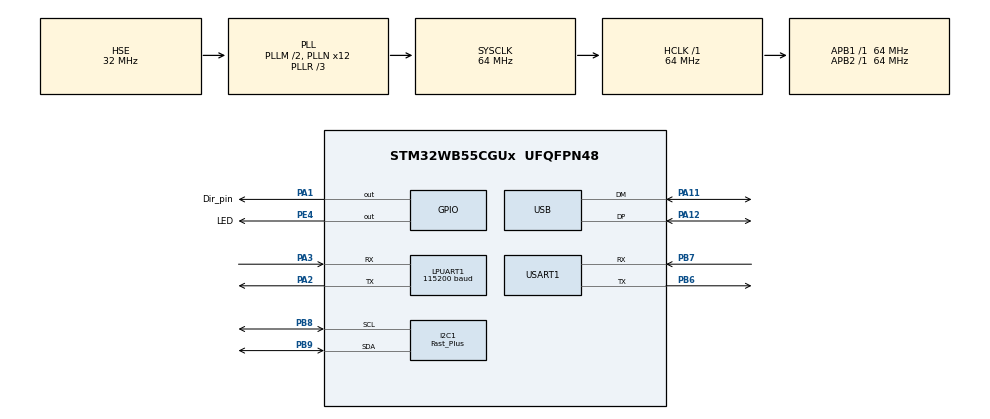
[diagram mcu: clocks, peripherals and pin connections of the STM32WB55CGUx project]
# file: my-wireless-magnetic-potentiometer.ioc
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Dma.I2C1_RX.0.Direction=DMA_PERIPH_TO_MEMORY
Dma.I2C1_RX.0.EventEnable=DISABLE
Dma.I2C1_RX.0.Instance=DMA1_Channel1
Dma.I2C1_RX.0.MemDataAlignment=DMA_MDATAALIGN_BYTE
Dma.I2C1_RX.0.MemInc=DMA_MINC_ENABLE
Dma.I2C1_RX.0.Mode=DMA_NORMAL
Dma.I2C1_RX.0.PeriphDataAlignment=DMA_PDATAALIGN_BYTE
Dma.I2C1_RX.0.PeriphInc=DMA_PINC_DISABLE
Dma.I2C1_RX.0.Polarity=HAL_DMAMUX_REQ_GEN_RISING
Dma.I2C1_RX.0.Priority=DMA_PRIORITY_LOW
Dma.I2C1_RX.0.RequestNumber=1
Dma.I2C1_RX.0.SignalID=NONE
Dma.I2C1_RX.0.SyncEnable=DISABLE
Dma.I2C1_RX.0.SyncPolarity=HAL_DMAMUX_SYNC_NO_EVENT
Dma.I2C1_RX.0.SyncRequestNumber=1
Dma.I2C1_RX.0.SyncSignalID=NONE
Dma.I2C1_TX.1.Direction=DMA_MEMORY_TO_PERIPH
Dma.I2C1_TX.1.EventEnable=DISABLE
Dma.I2C1_TX.1.Instance=DMA1_Channel2
Dma.I2C1_TX.1.MemDataAlignment=DMA_MDATAALIGN_BYTE
Dma.I2C1_TX.1.MemInc=DMA_MINC_ENABLE
Dma.I2C1_TX.1.Mode=DMA_NORMAL
Dma.I2C1_TX.1.PeriphDataAlignment=DMA_PDATAALIGN_BYTE
Dma.I2C1_TX.1.PeriphInc=DMA_PINC_DISABLE
Dma.I2C1_TX.1.Polarity=HAL_DMAMUX_REQ_GEN_RISING
Dma.I2C1_TX.1.Priority=DMA_PRIORITY_LOW
Dma.I2C1_TX.1.RequestNumber=1
Dma.I2C1_TX.1.SignalID=NONE
Dma.I2C1_TX.1.SyncEnable=DISABLE
Dma.I2C1_TX.1.SyncPolarity=HAL_DMAMUX_SYNC_NO_EVENT
Dma.I2C1_TX.1.SyncRequestNumber=1
Dma.I2C1_TX.1.SyncSignalID=NONE
Dma.LPUART1_RX.3.Direction=DMA_PERIPH_TO_MEMORY
Dma.LPUART1_RX.3.EventEnable=DISABLE
Dma.LPUART1_RX.3.Instance=DMA1_Channel4
Dma.LPUART1_RX.3.MemDataAlignment=DMA_MDATAALIGN_BYTE
Dma.LPUART1_RX.3.MemInc=DMA_MINC_ENABLE
Dma.LPUART1_RX.3.Mode=DMA_NORMAL
Dma.LPUART1_RX.3.PeriphDataAlignment=DMA_PDATAALIGN_BYTE
Dma.LPUART1_RX.3.PeriphInc=DMA_PINC_DISABLE
Dma.LPUART1_RX.3.Polarity=HAL_DMAMUX_REQ_GEN_RISING
Dma.LPUART1_RX.3.Priority=DMA_PRIORITY_LOW
Dma.LPUART1_RX.3.RequestNumber=1
Dma.LPUART1_RX.3.SignalID=NONE
Dma.LPUART1_RX.3.SyncEnable=DISABLE
Dma.LPUART1_RX.3.SyncPolarity=HAL_DMAMUX_SYNC_NO_EVENT
Dma.LPUART1_RX.3.SyncRequestNumber=1
Dma.LPUART1_RX.3.SyncSignalID=NONE
Dma.LPUART1_TX.2.Direction=DMA_MEMORY_TO_PERIPH
Dma.LPUART1_TX.2.EventEnable=DISABLE
Dma.LPUART1_TX.2.Instance=DMA1_Channel3
Dma.LPUART1_TX.2.MemDataAlignment=DMA_MDATAALIGN_BYTE
Dma.LPUART1_TX.2.MemInc=DMA_MINC_ENABLE
Dma.LPUART1_TX.2.Mode=DMA_NORMAL
Dma.LPUART1_TX.2.PeriphDataAlignment=DMA_PDATAALIGN_BYTE
Dma.LPUART1_TX.2.PeriphInc=DMA_PINC_DISABLE
Dma.LPUART1_TX.2.Polarity=HAL_DMAMUX_REQ_GEN_RISING
Dma.LPUART1_TX.2.Priority=DMA_PRIORITY_LOW
Dma.LPUART1_TX.2.RequestNumber=1
Dma.LPUART1_TX.2.SignalID=NONE
Dma.LPUART1_TX.2.SyncEnable=DISABLE
Dma.LPUART1_TX.2.SyncPolarity=HAL_DMAMUX_SYNC_NO_EVENT
Dma.LPUART1_TX.2.SyncRequestNumber=1
Dma.LPUART1_TX.2.SyncSignalID=NONE
Dma.Request0=I2C1_RX
Dma.Request1=I2C1_TX
Dma.Request2=LPUART1_TX
Dma.Request3=LPUART1_RX
Dma.Request4=USART1_RX
Dma.Request5=USART1_TX
Dma.USART1_RX.4.Direction=DMA_PERIPH_TO_MEMORY
Dma.USART1_RX.4.EventEnable=DISABLE
Dma.USART1_RX.4.Instance=DMA1_Channel5
Dma.USART1_RX.4.MemDataAlignment=DMA_MDATAALIGN_BYTE
Dma.USART1_RX.4.MemInc=DMA_MINC_ENABLE
Dma.USART1_RX.4.Mode=DMA_NORMAL
Dma.USART1_RX.4.PeriphDataAlignment=DMA_PDATAALIGN_BYTE
Dma.USART1_RX.4.PeriphInc=DMA_PINC_DISABLE
Dma.USART1_RX.4.Polarity=HAL_DMAMUX_REQ_GEN_RISING
Dma.USART1_RX.4.Priority=DMA_PRIORITY_LOW
Dma.USART1_RX.4.RequestNumber=1
Dma.USART1_RX.4.SignalID=NONE
Dma.USART1_RX.4.SyncEnable=DISABLE
Dma.USART1_RX.4.SyncPolarity=HAL_DMAMUX_SYNC_NO_EVENT
Dma.USART1_RX.4.SyncRequestNumber=1
Dma.USART1_RX.4.SyncSignalID=NONE
Dma.USART1_TX.5.Direction=DMA_MEMORY_TO_PERIPH
Dma.USART1_TX.5.EventEnable=DISABLE
Dma.USART1_TX.5.Instance=DMA1_Channel6
Dma.USART1_TX.5.MemDataAlignment=DMA_MDATAALIGN_BYTE
Dma.USART1_TX.5.MemInc=DMA_MINC_ENABLE
Dma.USART1_TX.5.Mode=DMA_NORMAL
Dma.USART1_TX.5.PeriphDataAlignment=DMA_PDATAALIGN_BYTE
Dma.USART1_TX.5.PeriphInc=DMA_PINC_DISABLE
Dma.USART1_TX.5.Polarity=HAL_DMAMUX_REQ_GEN_RISING
Dma.USART1_TX.5.Priority=DMA_PRIORITY_LOW
Dma.USART1_TX.5.RequestNumber=1
Dma.USART1_TX.5.SignalID=NONE
Dma.USART1_TX.5.SyncEnable=DISABLE
Dma.USART1_TX.5.SyncPolarity=HAL_DMAMUX_SYNC_NO_EVENT
Dma.USART1_TX.5.SyncRequestNumber=1
Dma.USART1_TX.5.SyncSignalID=NONE
I2C1.I2C_Coeff_DF=4
I2C1.I2C_Speed_Mode=I2C_Fast_Plus
I2C1.OwnAddress=0x36
I2C1.Timing=0x00900718
LPUART1.BaudRate=115200
Mcu.Family=STM32WB
Mcu.Name=STM32WB55CGUx
Mcu.Package=UFQFPN48
NVIC.DMA1_Channel1_IRQn=true\:0\:0\:false\:false\:true\:false\:true\:true
NVIC.DMA1_Channel2_IRQn=true\:0\:0\:false\:false\:true\:false\:true\:true
NVIC.DMA1_Channel3_IRQn=true\:0\:0\:false\:false\:true\:false\:true\:true
NVIC.DMA1_Channel4_IRQn=true\:0\:0\:false\:false\:true\:false\:true\:true
NVIC.DMA1_Channel5_IRQn=true\:0\:0\:false\:false\:true\:false\:true\:true
NVIC.DMA1_Channel6_IRQn=true\:0\:0\:false\:false\:true\:false\:true\:true
NVIC.HSEM_IRQn=true\:2\:0\:true\:false\:true\:false\:true\:true
NVIC.I2C1_ER_IRQn=true\:2\:0\:true\:false\:true\:true\:true\:true
NVIC.I2C1_EV_IRQn=true\:2\:0\:true\:false\:true\:true\:true\:true
NVIC.IPCC_C1_RX_IRQn=true\:2\:0\:true\:false\:true\:true\:true\:true
NVIC.IPCC_C1_TX_IRQn=true\:2\:0\:true\:false\:true\:true\:true\:true
NVIC.LPUART1_IRQn=true\:0\:0\:false\:false\:true\:true\:true\:true
NVIC.PriorityGroup=NVIC_PRIORITYGROUP_4
NVIC.RTC_WKUP_IRQn=true\:0\:0\:false\:false\:true\:true\:true\:true
NVIC.TIM1_UP_TIM16_IRQn=true\:0\:0\:false\:false\:true\:true\:true\:true
NVIC.USART1_IRQn=true\:0\:0\:false\:false\:true\:true\:true\:true
NVIC.USB_LP_IRQn=true\:0\:0\:false\:false\:true\:true\:true\:true
OSC_IN.Mode=HSE-External-Oscillator
OSC_IN.Signal=RCC_OSC_IN
OSC_OUT.Mode=HSE-External-Oscillator
OSC_OUT.Signal=RCC_OSC_OUT
PA1.GPIO_Label=Dir_pin
PA1.Signal=GPIO_Output
PA11.Mode=Device
PA11.Signal=USB_DM
PA12.Mode=Device
PA12.Signal=USB_DP
PA13.Mode=Serial_Wire
PA13.Signal=SYS_JTMS-SWDIO
PA14.Mode=Serial_Wire
PA14.Signal=SYS_JTCK-SWCLK
PA2.Mode=Asynchronous
PA2.Signal=LPUART1_TX
PA3.Mode=Asynchronous
PA3.Signal=LPUART1_RX
PB6.Mode=Asynchronous
PB6.Signal=USART1_TX
PB7.Mode=Asynchronous
PB7.Signal=USART1_RX
PB8.Mode=I2C
PB8.Signal=I2C1_SCL
PB9.Mode=I2C
PB9.Signal=I2C1_SDA
PC14-OSC32_IN.Mode=LSE-External-Oscillator
PC14-OSC32_IN.Signal=RCC_OSC32_IN
PC15-OSC32_OUT.Mode=LSE-External-Oscillator
PC15-OSC32_OUT.Signal=RCC_OSC32_OUT
PE4.GPIO_Label=LED
PE4.Signal=GPIO_Output
ProjectManager.HeapSize=0x200
ProjectManager.StackSize=0x400
ProjectManager.TargetToolchain=STM32CubeIDE
RCC.ADCFreq_Value=48000000
RCC.AHB2CLKDivider=RCC_SYSCLK_DIV2
RCC.AHBFreq_Value=64000000
RCC.APB1Freq_Value=64000000
RCC.APB1TimFreq_Value=64000000
RCC.APB2Freq_Value=64000000
RCC.APB2TimFreq_Value=64000000
RCC.APB3Freq_Value=16000000
RCC.CK48CLockSelection=RCC_USBCLKSOURCE_PLL
RCC.CortexFreq_Value=64000000
RCC.HCLKFreq_Value=64000000
RCC.HSE_VALUE=32000000
RCC.HSI48_VALUE=48000000
RCC.HSI_VALUE=16000000
RCC.PLLM=RCC_PLLM_DIV2
RCC.PLLN=12
RCC.PLLQ=RCC_PLLQ_DIV4
RCC.PLLR=RCC_PLLR_DIV3
RCC.PLLSAI1N=6
RCC.PLLSourceVirtual=RCC_PLLSOURCE_HSE
RCC.RNGCLockSelection=RCC_RNGCLKSOURCE_CLK48
RCC.RTCClockSelection=RCC_RTCCLKSOURCE_LSE
RCC.SYSCLKFreq_VALUE=64000000
RCC.SYSCLKSource=RCC_SYSCLKSOURCE_PLLCLK
RCC.USBFreq_Value=48000000
RCC.VCOOutputFreq_Value=192000000
RF1.Mode=RF1_Activate
RF1.Signal=RF_RF1
RTC.WakeUpCounter-WakeUp=0xFFFF
STM32_WPAN.AD_SERVICE_CLASS_UUID_1=18 12
STM32_WPAN.AD_SERVICE_CLASS_UUID_1_INV=[12, 18]
STM32_WPAN.AD_TYPE_COMPLETE_LOCAL_NAME=HID_XX
STM32_WPAN.AD_TYPE_COMPLETE_LOCAL_NAME_LENGTH=7
STM32_WPAN.AD_TYPE_MANUFACTURER_DATA_NBR=12
STM32_WPAN.BLE_APPLICATION_TYPE=BLE_SERVER_PROFILE
STM32_WPAN.BLE_DBG_APP_EN=1
STM32_WPAN.CFG_BONDING_MODE=1
STM32_WPAN.CFG_CONSOLE_MENU=hw_lpuart1
STM32_WPAN.CFG_DEBUG_APP_TRACE=1
STM32_WPAN.CFG_DEBUG_BLE_TRACE=1
STM32_WPAN.CFG_DEBUG_TRACE_FULL=1
STM32_WPAN.CFG_DEBUG_TRACE_LIGHT=0
STM32_WPAN.CFG_DEBUG_TRACE_UART=hw_uart1
STM32_WPAN.CFG_FAST_CONN_ADV_INTERVAL_MAX=160
STM32_WPAN.CFG_FAST_CONN_ADV_INTERVAL_MAX_HEXA=0x0100
STM32_WPAN.CFG_GAP_DEVICE_NAME=HID Mouse
STM32_WPAN.CFG_GAP_DEVICE_NAME_LENGTH=9
STM32_WPAN.CFG_HW_LPUART1_ENABLED=1
STM32_WPAN.CFG_HW_TS_MAX_NBR_CONCURRENT_TIMER=16
STM32_WPAN.CFG_HW_USART1_ENABLED=1
STM32_WPAN.CFG_IO_CAPABILITY=\ CFG_IO_CAPABILITY_NO_INPUT_NO_OUTPUT
STM32_WPAN.CFG_LPM_SUPPORTED=1
STM32_WPAN.CFG_LSCLK_LSE=0
STM32_WPAN.CFG_MITM_PROTECTION=CFG_MITM_PROTECTION_NOT_REQUIRED
STM32_WPAN.CFG_SC_SUPPORT=CFG_SECURE_OPTIONAL
STM32_WPAN.CFG_TX_POWER=(0x19) /* 0dBm */
STM32_WPAN.CUSTOM_P2P_SERVER=Disabled
STM32_WPAN.CUSTOM_TEMPLATE=Enabled
STM32_WPAN.INCLUDE_AD_TYPE_16_BIT_SERV_UUID_CMPLT_LIST=1
STM32_WPAN.INCLUDE_AD_TYPE_COMPLETE_LOCAL_NAME=1
STM32_WPAN.INCLUDE_AD_TYPE_MANUFACTURER_SPECIFIC_DATA=1
STM32_WPAN.INCLUDE_AD_TYPE_TX_POWER_LEVEL=0
STM32_WPAN.LOCAL_NAME=BLE_Mou
STM32_WPAN.LOCAL_NAME_FORMATTED=,'B','L','E','_','M','o','u'
STM32_WPAN.NUMBER_OF_SERVICES=4
STM32_WPAN.PAIRING_PARAMETERS=ON
STM32_WPAN.SERVICE1_CHAR1_ATTR_PERMISSION_ENCRY_READ=ATTR_PERMISSION_ENCRY_READ
STM32_WPAN.SERVICE1_CHAR1_LONG_NAME=HID_Information
STM32_WPAN.SERVICE1_CHAR1_PROP_READ=CHAR_PROP_READ
STM32_WPAN.SERVICE1_CHAR1_SHORT_NAME=HII
STM32_WPAN.SERVICE1_CHAR1_UUID=2A 4A
STM32_WPAN.SERVICE1_CHAR1_UUID_TYPE=0x01
STM32_WPAN.SERVICE1_CHAR1_VALUE_LENGTH=4
STM32_WPAN.SERVICE1_CHAR2_ATTR_PERMISSION_ENCRY_READ=ATTR_PERMISSION_ENCRY_READ
STM32_WPAN.SERVICE1_CHAR2_LONG_NAME=HID_Control_Point
STM32_WPAN.SERVICE1_CHAR2_PROP_WRITE_WITHOUT_RESP=CHAR_PROP_WRITE_WITHOUT_RESP
STM32_WPAN.SERVICE1_CHAR2_SHORT_NAME=HCP
STM32_WPAN.SERVICE1_CHAR2_UUID=2A 4C
STM32_WPAN.SERVICE1_CHAR2_UUID_TYPE=0x01
STM32_WPAN.SERVICE1_CHAR3_ATTR_PERMISSION_ENCRY_READ=ATTR_PERMISSION_ENCRY_READ
STM32_WPAN.SERVICE1_CHAR3_LENGTH_CHARACTERISTIC=CHAR_VALUE_LEN_VARIABLE
STM32_WPAN.SERVICE1_CHAR3_LONG_NAME=Report_Map
STM32_WPAN.SERVICE1_CHAR3_PROP_READ=CHAR_PROP_READ
STM32_WPAN.SERVICE1_CHAR3_SHORT_NAME=REM
STM32_WPAN.SERVICE1_CHAR3_UUID=2A 4B
STM32_WPAN.SERVICE1_CHAR3_UUID_TYPE=0x01
STM32_WPAN.SERVICE1_CHAR3_VALUE_LENGTH=80
STM32_WPAN.SERVICE1_CHAR4_LENGTH_CHARACTERISTIC=CHAR_VALUE_LEN_VARIABLE
STM32_WPAN.SERVICE1_CHAR4_LONG_NAME=InputReport
STM32_WPAN.SERVICE1_CHAR4_PROP_NOTIFY=CHAR_PROP_NOTIFY
STM32_WPAN.SERVICE1_CHAR4_PROP_READ=CHAR_PROP_READ
STM32_WPAN.SERVICE1_CHAR4_PROP_WRITE=CHAR_PROP_WRITE
STM32_WPAN.SERVICE1_CHAR4_SHORT_NAME=INPUTREP
STM32_WPAN.SERVICE1_CHAR4_UUID=2A 4D
STM32_WPAN.SERVICE1_CHAR4_UUID_TYPE=0x01
STM32_WPAN.SERVICE1_CHAR4_VALUE_LENGTH=80
STM32_WPAN.SERVICE1_LONG_NAME=HumanInterfaceDevice
STM32_WPAN.SERVICE1_NUMBER_OF_CHARACTERISTICS=4
STM32_WPAN.SERVICE1_SHORT_NAME=HIDS
STM32_WPAN.SERVICE1_UUID=18 12
STM32_WPAN.SERVICE1_UUID_TYPE=0x01
STM32_WPAN.SERVICE2_CHAR1_ATTR_PERMISSION_ENCRY_READ=ATTR_PERMISSION_ENCRY_READ
STM32_WPAN.SERVICE2_CHAR1_LENGTH_CHARACTERISTIC=CHAR_VALUE_LEN_VARIABLE
STM32_WPAN.SERVICE2_CHAR1_LONG_NAME=Manufacturer_Name
STM32_WPAN.SERVICE2_CHAR1_PROP_READ=CHAR_PROP_READ
STM32_WPAN.SERVICE2_CHAR1_SHORT_NAME=MANS
STM32_WPAN.SERVICE2_CHAR1_UUID=2A 29
STM32_WPAN.SERVICE2_CHAR1_UUID_TYPE=0x01
STM32_WPAN.SERVICE2_CHAR1_VALUE_LENGTH=32
STM32_WPAN.SERVICE2_CHAR2_ATTR_PERMISSION_ENCRY_READ=ATTR_PERMISSION_ENCRY_READ
STM32_WPAN.SERVICE2_CHAR2_LENGTH_CHARACTERISTIC=CHAR_VALUE_LEN_VARIABLE
STM32_WPAN.SERVICE2_CHAR2_LONG_NAME=Model_Number
STM32_WPAN.SERVICE2_CHAR2_PROP_READ=CHAR_PROP_READ
STM32_WPAN.SERVICE2_CHAR2_SHORT_NAME=MONS
STM32_WPAN.SERVICE2_CHAR2_UUID=2A 24
STM32_WPAN.SERVICE2_CHAR2_UUID_TYPE=0x01
STM32_WPAN.SERVICE2_CHAR2_VALUE_LENGTH=32
STM32_WPAN.SERVICE2_CHAR3_ATTR_PERMISSION_ENCRY_READ=ATTR_PERMISSION_ENCRY_READ
STM32_WPAN.SERVICE2_CHAR3_LENGTH_CHARACTERISTIC=CHAR_VALUE_LEN_VARIABLE
STM32_WPAN.SERVICE2_CHAR3_LONG_NAME=Firmware_Revision
STM32_WPAN.SERVICE2_CHAR3_PROP_READ=CHAR_PROP_READ
STM32_WPAN.SERVICE2_CHAR3_SHORT_NAME=FRS
STM32_WPAN.SERVICE2_CHAR3_UUID=2A 26
STM32_WPAN.SERVICE2_CHAR3_UUID_TYPE=0x01
STM32_WPAN.SERVICE2_CHAR3_VALUE_LENGTH=32
STM32_WPAN.SERVICE2_CHAR4_ATTR_PERMISSION_ENCRY_READ=ATTR_PERMISSION_ENCRY_READ
STM32_WPAN.SERVICE2_CHAR4_LENGTH_CHARACTERISTIC=CHAR_VALUE_LEN_VARIABLE
STM32_WPAN.SERVICE2_CHAR4_LONG_NAME=Software_Revision
STM32_WPAN.SERVICE2_CHAR4_PROP_READ=CHAR_PROP_READ
STM32_WPAN.SERVICE2_CHAR4_SHORT_NAME=SRS
STM32_WPAN.SERVICE2_CHAR4_UUID=2A 28
STM32_WPAN.SERVICE2_CHAR4_UUID_TYPE=0x01
STM32_WPAN.SERVICE2_CHAR4_VALUE_LENGTH=32
STM32_WPAN.SERVICE2_CHAR5_ATTR_PERMISSION_ENCRY_READ=ATTR_PERMISSION_ENCRY_READ
STM32_WPAN.SERVICE2_CHAR5_LONG_NAME=PnPID
STM32_WPAN.SERVICE2_CHAR5_PROP_READ=CHAR_PROP_READ
STM32_WPAN.SERVICE2_CHAR5_SHORT_NAME=PNI
STM32_WPAN.SERVICE2_CHAR5_UUID_TYPE=0x01
STM32_WPAN.SERVICE2_CHAR5_VALUE_LENGTH=7
STM32_WPAN.SERVICE2_LONG_NAME=Device_Information
STM32_WPAN.SERVICE2_NUMBER_OF_CHARACTERISTICS=5
STM32_WPAN.SERVICE2_SHORT_NAME=DIS
STM32_WPAN.SERVICE2_UUID=18 0A
STM32_WPAN.SERVICE2_UUID_TYPE=0x01
STM32_WPAN.SERVICE3_CHAR1_ATTR_PERMISSION_ENCRY_READ=ATTR_PERMISSION_ENCRY_READ
STM32_WPAN.SERVICE3_CHAR1_LONG_NAME=Battery_Level
STM32_WPAN.SERVICE3_CHAR1_PROP_NOTIFY=CHAR_PROP_NOTIFY
STM32_WPAN.SERVICE3_CHAR1_PROP_READ=CHAR_PROP_READ
STM32_WPAN.SERVICE3_CHAR1_SHORT_NAME=BAL
STM32_WPAN.SERVICE3_CHAR1_UUID=2A 19
STM32_WPAN.SERVICE3_CHAR1_UUID_TYPE=0x01
STM32_WPAN.SERVICE3_LONG_NAME=Battery
STM32_WPAN.SERVICE3_SHORT_NAME=BAS
STM32_WPAN.SERVICE3_UUID=18 0F
STM32_WPAN.SERVICE3_UUID_TYPE=0x01
STM32_WPAN.SERVICE4_CHAR1_ATTR_PERMISSION_ENCRY_READ=ATTR_PERMISSION_ENCRY_READ
STM32_WPAN.SERVICE4_CHAR1_LONG_NAME=Scan_Interval_Window
STM32_WPAN.SERVICE4_CHAR1_PROP_WRITE_WITHOUT_RESP=CHAR_PROP_WRITE_WITHOUT_RESP
STM32_WPAN.SERVICE4_CHAR1_SHORT_NAME=SIW
STM32_WPAN.SERVICE4_CHAR1_UUID=2A 4F
STM32_WPAN.SERVICE4_CHAR1_UUID_TYPE=0x01
STM32_WPAN.SERVICE4_CHAR1_VALUE_LENGTH=4
STM32_WPAN.SERVICE4_CHAR2_LENGTH_CHARACTERISTIC=CHAR_VALUE_LEN_CONSTANT
STM32_WPAN.SERVICE4_CHAR2_LONG_NAME=Scan_Refresh
STM32_WPAN.SERVICE4_CHAR2_PROP_NOTIFY=CHAR_PROP_NOTIFY
STM32_WPAN.SERVICE4_CHAR2_SHORT_NAME=SCR
STM32_WPAN.SERVICE4_CHAR2_UUID=2A 31
STM32_WPAN.SERVICE4_CHAR2_UUID_TYPE=0x01
STM32_WPAN.SERVICE4_LONG_NAME=Scan_Parameters
STM32_WPAN.SERVICE4_NUMBER_OF_CHARACTERISTICS=2
STM32_WPAN.SERVICE4_SHORT_NAME=SCPS
STM32_WPAN.SERVICE4_UUID=18 13
STM32_WPAN.SERVICE4_UUID_TYPE=0x01
TIM16.AutoReloadPreload=TIM_AUTORELOAD_PRELOAD_ENABLE
TIM16.Period=10000-1
TIM16.Prescaler=640-1
USART1.VirtualMode-Asynchronous=VM_ASYNC
USB_DEVICE.CLASS_NAME_FS=HID
USB_DEVICE.VirtualMode=Hid
USB_DEVICE.VirtualModeFS=Hid_FS
VP_HSEM_VS_HSEM.Mode=HSEM_Activate
VP_IPCC_VS_IPCC.Mode=IPCC_Activate
VP_MEMORYMAP_VS_MEMORYMAP.Mode=CurAppReg
VP_RNG_VS_RNG.Mode=RNG_Activate
VP_RTC_VS_RTC_Activate.Mode=RTC_Enabled
VP_RTC_VS_RTC_Calendar.Mode=RTC_Calendar
VP_RTC_VS_RTC_WakeUp_intern.Mode=WakeUp
VP_SEQUENCER_VS_SEQUENCER.Mode=SEQUENCER_Enabled
VP_STM32_WPAN_VS_BLE_HOST.Mode=STM32_WPAN_Enabled
VP_TIM16_VS_ClockSourceINT.Mode=Enable_Timer
VP_TINY_LPM_VS_TINY_LPM.Mode=TINY_LPM_Enabled
VP_USB_DEVICE_VS_USB_DEVICE_HID_FS.Mode=HID_FS
board=custom

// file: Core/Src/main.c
/* USER CODE BEGIN Header */
/**
  ******************************************************************************
  * @file           : main.c
  * @brief          : Main program body
  ******************************************************************************
  * @attention
  *
  * Copyright (c) 2025 STMicroelectronics.
  * All rights reserved.
  *
  * This software is licensed under terms that can be found in the LICENSE file
  * in the root directory of this software component.
  * If no LICENSE file comes with this software, it is provided AS-IS.
  *
  ******************************************************************************
  */
/* USER CODE END Header */
#include "main.h"
#include "dma.h"
#include "i2c.h"
#include "ipcc.h"
#include "usart.h"
#include "memorymap.h"
#include "rf.h"
#include "rng.h"
#include "rtc.h"
#include "tim.h"
#include "usb_device.h"
#include "gpio.h"

/* USER CODE BEGIN Includes */
#include "as5600.h"
#include "usbd_hid.h"
#include "app_ble.h"
#include "hids_app.h"
#include "stm32_seq.h"
/* USER CODE END Includes */

/* USER CODE BEGIN PD */
volatile HID_MouseReport_t mr = {0};
AS5600_TypeDef *ams = NULL;
/* USER CODE END PD */

void SystemClock_Config(void);
void PeriphCommonClock_Config(void);

/* USER CODE BEGIN 0 */
static inline int32_t filter(int32_t in, int32_t prev, int32_t alpha1000){
	const uint16_t DIVIDER = 1000;
	int32_t result = 0;
	if (alpha1000 > 1000) return result;
	result = (alpha1000*in + (DIVIDER-alpha1000)*prev)/DIVIDER;
	return result;
}
void foo(void){
	static int8_t angle_report = 0;
	static HID_ConnStatus_t conn_status = HID_IDLE;
	if (ams->InitStatus != 0){
		AS5600_GetRawAngle(ams, &ams->angle_var);
		angle_report = 0;
		ams->angle_diff = ams->angle_var - ams->angle_prev;
		if (abs(ams->angle_diff) > 1){
			ams->angle_prev = ams->angle_var;

			if (ams->angle_diff >  2048) {
				ams->angle_diff -= 4095;
			}
			if (ams->angle_diff < -2048) {
				ams->angle_diff += 4095;
			}

			static const uint16_t divider = 8;
			if (ams->angle_diff > divider) ams->angle_diff /= divider;

			if (abs(ams->angle_diff) > 0) HAL_GPIO_WritePin(LED_GPIO_Port, LED_Pin, GPIO_PIN_SET);

			if (ams->angle_diff >  127) ams->angle_diff =  127;
			if (ams->angle_diff < -127) ams->angle_diff = -127;

			//ams->angle_filt = filter(ams->angle_diff, ams->angle_filt, 900);

			angle_report = ams->angle_diff;

		} else {
			HAL_GPIO_WritePin(LED_GPIO_Port, LED_Pin, GPIO_PIN_RESET);
		}

		mr.wheel = angle_report;

		conn_status = get_conn_status(0);
		if (conn_status == HID_CONNECTED_SERVER || conn_status == HID_CONNECTED_CLIENT){
			UTIL_SEQ_SetTask(1<<CFG_TASK_HID_UPDATE_REQ_ID, CFG_SCH_PRIO_0);
		} else {
			USBD_HID_SendReport(&hUsbDeviceFS, (uint8_t*)&mr, sizeof(mr));
		}
	}
}

void HAL_TIM_PeriodElapsedCallback(TIM_HandleTypeDef *htim){
	if (htim == &htim16) {
		//foo();
	}
}
/* USER CODE END 0 */

int main(void)
{

  /* MCU Configuration--------------------------------------------------------*/

  /* Reset of all peripherals, Initializes the Flash interface and the Systick. */
  HAL_Init();
  /* Config code for STM32_WPAN (HSE Tuning must be done before system clock configuration) */
  MX_APPE_Config();

  /* Configure the system clock */
  SystemClock_Config();

  /* Configure the peripherals common clocks */
  PeriphCommonClock_Config();

  /* IPCC initialisation */
  MX_IPCC_Init();

  /* Initialize all configured peripherals */
  MX_GPIO_Init();
  MX_DMA_Init();
  MX_I2C1_Init();
  MX_RTC_Init();
  MX_USB_Device_Init();
  MX_TIM16_Init();
  MX_RNG_Init();
  MX_LPUART1_UART_Init();
  MX_USART1_UART_Init();
  MX_RF_Init();
  /* USER CODE BEGIN 2 */
  LL_HSEM_1StepLock( HSEM, CFG_HW_CLK48_CONFIG_SEMID);

  ams = AS5600_New_Static();
  ams->i2cHandle = &hi2c1;
  ams->i2cAddr = AS5600_SLAVE_ADDRESS<<1;
  ams->DirPin = Dir_pin_Pin;
  ams->DirPort = Dir_pin_GPIO_Port;
  AS5600_Init(ams);
  HAL_TIM_Base_Start_IT(&htim16);
  /* USER CODE END 2 */

  /* Init code for STM32_WPAN */
  MX_APPE_Init();

  /* Infinite loop */
  /* USER CODE BEGIN WHILE */
  while (1){
	  static uint32_t tick = 0;
	  static uint32_t tick_now = 0;
//	  uint16_t angle;
//	  HAL_Delay(500);
//	  HAL_GPIO_TogglePin(LED_GPIO_Port, LED_Pin);

    tick_now = HAL_GetTick();
    if(tick_now >= tick){
    	tick = tick_now + 10;
//    	foo();
//    	//usb-hid report
//    	HID_ConnStatus_t tmp = get_conn_status(0);
//    	if (tmp == HID_CONNECTED_SERVER || tmp == HID_CONNECTED_CLIENT){
//    		UTIL_SEQ_SetTask(1<<CFG_TASK_HID_UPDATE_REQ_ID, CFG_SCH_PRIO_0);
//    	} else {
//    		USBD_HID_SendReport(&hUsbDeviceFS, (uint8_t*)&mr, sizeof(mr));
//    	}
//
//    	if(0){
//    		HIDSAPP_Profile_UpdateChar();
//    	}
    }
    /* USER CODE END WHILE */
    MX_APPE_Process();

  }
}

void SystemClock_Config(void)
{
  RCC_OscInitTypeDef RCC_OscInitStruct = {0};
  RCC_ClkInitTypeDef RCC_ClkInitStruct = {0};

  /** Configure LSE Drive Capability
  */
  HAL_PWR_EnableBkUpAccess();
  __HAL_RCC_LSEDRIVE_CONFIG(RCC_LSEDRIVE_MEDIUMHIGH);

  /** Configure the main internal regulator output voltage
  */
  __HAL_PWR_VOLTAGESCALING_CONFIG(PWR_REGULATOR_VOLTAGE_SCALE1);

  /** Initializes the RCC Oscillators according to the specified parameters
  * in the RCC_OscInitTypeDef structure.
  */
  RCC_OscInitStruct.OscillatorType = RCC_OSCILLATORTYPE_HSI|RCC_OSCILLATORTYPE_HSE
                              |RCC_OSCILLATORTYPE_LSE;
  RCC_OscInitStruct.HSEState = RCC_HSE_ON;
  RCC_OscInitStruct.LSEState = RCC_LSE_ON;
  RCC_OscInitStruct.HSIState = RCC_HSI_ON;
  RCC_OscInitStruct.HSICalibrationValue = RCC_HSICALIBRATION_DEFAULT;
  RCC_OscInitStruct.PLL.PLLState = RCC_PLL_ON;
  RCC_OscInitStruct.PLL.PLLSource = RCC_PLLSOURCE_HSE;
  RCC_OscInitStruct.PLL.PLLM = RCC_PLLM_DIV2;
  RCC_OscInitStruct.PLL.PLLN = 12;
  RCC_OscInitStruct.PLL.PLLP = RCC_PLLP_DIV2;
  RCC_OscInitStruct.PLL.PLLR = RCC_PLLR_DIV3;
  RCC_OscInitStruct.PLL.PLLQ = RCC_PLLQ_DIV4;
  if (HAL_RCC_OscConfig(&RCC_OscInitStruct) != HAL_OK)
  {
    Error_Handler();
  }

  /** Configure the SYSCLKSource, HCLK, PCLK1 and PCLK2 clocks dividers
  */
  RCC_ClkInitStruct.ClockType = RCC_CLOCKTYPE_HCLK4|RCC_CLOCKTYPE_HCLK2
                              |RCC_CLOCKTYPE_HCLK|RCC_CLOCKTYPE_SYSCLK
                              |RCC_CLOCKTYPE_PCLK1|RCC_CLOCKTYPE_PCLK2;
  RCC_ClkInitStruct.SYSCLKSource = RCC_SYSCLKSOURCE_PLLCLK;
  RCC_ClkInitStruct.AHBCLKDivider = RCC_SYSCLK_DIV1;
  RCC_ClkInitStruct.APB1CLKDivider = RCC_HCLK_DIV1;
  RCC_ClkInitStruct.APB2CLKDivider = RCC_HCLK_DIV1;
  RCC_ClkInitStruct.AHBCLK2Divider = RCC_SYSCLK_DIV2;
  RCC_ClkInitStruct.AHBCLK4Divider = RCC_SYSCLK_DIV1;

  if (HAL_RCC_ClockConfig(&RCC_ClkInitStruct, FLASH_LATENCY_3) != HAL_OK)
  {
    Error_Handler();
  }
}

void PeriphCommonClock_Config(void)
{
  RCC_PeriphCLKInitTypeDef PeriphClkInitStruct = {0};

  /** Initializes the peripherals clock
  */
  PeriphClkInitStruct.PeriphClockSelection = RCC_PERIPHCLK_SMPS|RCC_PERIPHCLK_RFWAKEUP;
  PeriphClkInitStruct.RFWakeUpClockSelection = RCC_RFWKPCLKSOURCE_HSE_DIV1024;
  PeriphClkInitStruct.SmpsClockSelection = RCC_SMPSCLKSOURCE_HSI;
  PeriphClkInitStruct.SmpsDivSelection = RCC_SMPSCLKDIV_RANGE1;

  if (HAL_RCCEx_PeriphCLKConfig(&PeriphClkInitStruct) != HAL_OK)
  {
    Error_Handler();
  }
}

void Error_Handler(void)
{
  __disable_irq();
  while (1)
  {
  }
}
